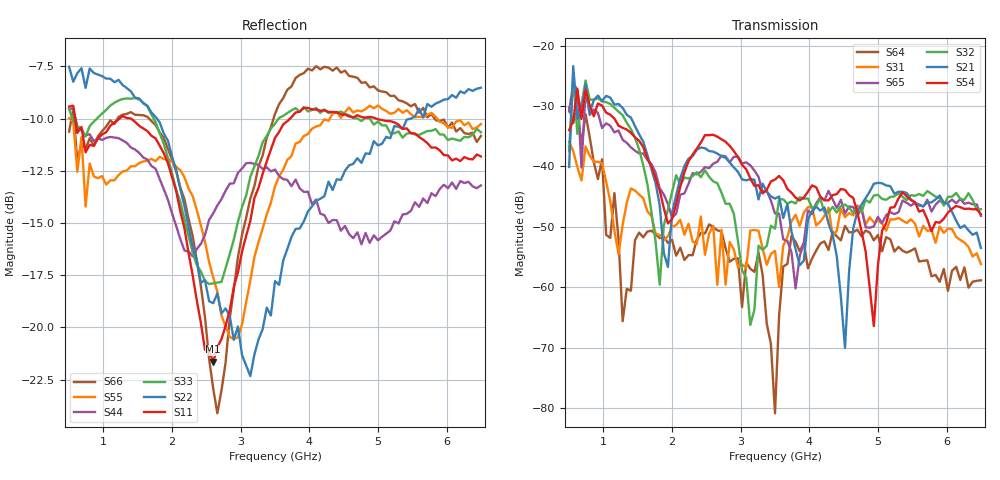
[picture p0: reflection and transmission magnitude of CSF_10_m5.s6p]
!Keysight Technologies,M9804A,MY58100912,A.14.10.03
!Date: Thursday, April 27, 2023 10:28:33
!Correction: S11(C  6-Port  )
!S12(C  6-Port  )
!S13(C  6-Port  )
!S14(C  6-Port  )
!S15(C  6-Port  )
!S16(C  6-Port  )
!S21(C  6-Port  )
!S22(C  6-Port  )
!S23(C  6-Port  )
!S24(C  6-Port  )
!S25(C  6-Port  )
!S26(C  6-Port  )
!S31(C  6-Port  )
!S32(C  6-Port  )
!S33(C  6-Port  )
!S34(C  6-Port  )
!S35(C  6-Port  )
!S36(C  6-Port  )
!S41(C  6-Port  )
!S42(C  6-Port  )
!S43(C  6-Port  )
!S44(C  6-Port  )
!S45(C  6-Port  )
!S46(C  6-Port  )
!S51(C  6-Port  )
!S52(C  6-Port  )
!S53(C  6-Port  )
!S54(C  6-Port  )
!S55(C  6-Port  )
!S56(C  6-Port  )
!S61(C  6-Port  )
!S62(C  6-Port  )
!S63(C  6-Port  )
!S64(C  6-Port  )
!S65(C  6-Port  )
!S66(C  6-Port  )
!S6P File: Measurement: :
# Hz S  RI  R 50
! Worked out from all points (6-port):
!   101 points, 500 MHz to 6.5 GHz, reference 50 ohm
!   strongest paths, dB at 500 MHz, 2 GHz, 3.5 GHz, 5 GHz, 6.5 GHz:
!     S54: -34.0, -48.7, -42.2, -56.4, -47.9
!     S21: -40.1, -47.7, -45.3, -42.7, -53.5
!     S32: -37.5, -44.2, -50.3, -44.7, -47.1
!     S65: -30.9, -48.5, -47.8, -48.3, -48.2
!     S31: -35.9, -50.0, -54.0, -48.9, -56.1
!     S64: -30.2, -52.1, -80.8, -51.3, -58.8
!   lowest |S11| = -21.6 dB at 2.6 GHz (marker M1), VSWR 1.18, Z = 42.6 + j2.05 ohm
!   |S11| at or under -10 dB: 588.5 MHz to 1.236 GHz (647.6 MHz wide, 71 % of centre); 1.401 GHz to 3.719 GHz (2.318 GHz wide, 90.5 % of centre); 4.974 GHz to end of sweep
